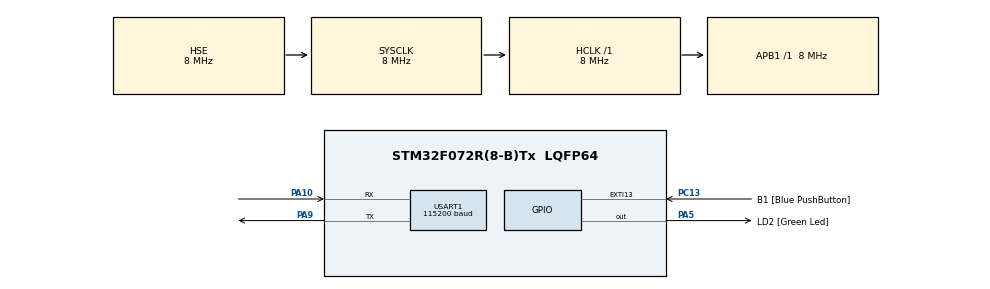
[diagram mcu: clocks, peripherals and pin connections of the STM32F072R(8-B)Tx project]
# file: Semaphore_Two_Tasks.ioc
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Mcu.Family=STM32F0
Mcu.Name=STM32F072R(8-B)Tx
Mcu.Package=LQFP64
NVIC.TIM6_DAC_IRQn=true\:3\:0\:false\:false\:true\:false\:true\:true
NVIC.TimeBase=TIM6_DAC_IRQn
NVIC.TimeBaseIP=TIM6
PA10.Mode=Asynchronous
PA10.Signal=USART1_RX
PA13.GPIO_Label=TMS
PA13.Mode=Serial_Wire
PA13.Signal=SYS_SWDIO
PA14.GPIO_Label=TCK
PA14.Mode=Serial_Wire
PA14.Signal=SYS_SWCLK
PA5.GPIO_Label=LD2 [Green Led]
PA5.GPIO_Mode=GPIO_MODE_OUTPUT_PP
PA5.GPIO_PuPd=GPIO_NOPULL
PA5.GPIO_Speed=GPIO_SPEED_FREQ_LOW
PA5.Signal=GPIO_Output
PA9.Mode=Asynchronous
PA9.Signal=USART1_TX
PC13.GPIO_Label=B1 [Blue PushButton]
PC13.GPIO_ModeDefaultEXTI=GPIO_MODE_IT_FALLING
PC13.Signal=GPXTI13
PC14-OSC32_IN.Signal=RCC_OSC32_IN
PC15-OSC32_OUT.Signal=RCC_OSC32_OUT
PF0-OSC_IN.Mode=HSE-External-Oscillator
PF0-OSC_IN.Signal=RCC_OSC_IN
PF1-OSC_OUT.Mode=HSE-External-Oscillator
PF1-OSC_OUT.Signal=RCC_OSC_OUT
ProjectManager.HeapSize=0x200
ProjectManager.StackSize=0x400
ProjectManager.TargetToolchain=STM32CubeIDE
RCC.AHBFreq_Value=8000000
RCC.APB1Freq_Value=8000000
RCC.APB1TimFreq_Value=8000000
RCC.FLatency-AdvancedSettings=FLASH_LATENCY_0
RCC.HCLKFreq_Value=8000000
RCC.PLLDivider=RCC_PREDIV_DIV2
RCC.PLLMUL=RCC_PLL_MUL12
RCC.PREFETCH_ENABLE-AdvancedSettings=1
RCC.SYSCLKFreq_VALUE=8000000
RCC.SYSCLKSource=RCC_SYSCLKSOURCE_HSE
USART1.BaudRate=115200
USART1.VirtualMode-Asynchronous=VM_ASYNC
VP_SYS_VS_tim6.Mode=TIM6
board=NUCLEO-F072RB

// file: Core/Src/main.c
/* USER CODE BEGIN Header */
/**
  ******************************************************************************
  * @file           : main.c
  * @brief          : Main program body
  ******************************************************************************
  * @attention
  *
  * Copyright (c) 2024 STMicroelectronics.
  * All rights reserved.
  *
  * This software is licensed under terms that can be found in the LICENSE file
  * in the root directory of this software component.
  * If no LICENSE file comes with this software, it is provided AS-IS.
  *
  ******************************************************************************
  */
/* USER CODE END Header */
#include "main.h"

/* USER CODE BEGIN Includes */
#include "FreeRTOS.h"
#include "task.h"
#include "queue.h"
#include "semphr.h"
#include "stdio.h"
#include "string.h"
#include "stdlib.h"
/* USER CODE END Includes */

/* USER CODE BEGIN PTD */

uint8_t myMessage[100];

xSemaphoreHandle xSemaphore = 		NULL;
xQueueHandle xQueue 		=		NULL ;
char *deneme = "Semaphore,Queue and Task Created...\r\n";

/* USER CODE END PTD */

UART_HandleTypeDef huart1;

void SystemClock_Config(void);
static void MX_GPIO_Init(void);
static void MX_USART1_UART_Init(void);

/* USER CODE BEGIN 0 */

void Master_Task_Handler(void *params)
{
	// random sayılar elde edeceğiz

	unsigned int  xMasterPassId; // geçiş id si

	portBASE_TYPE xStatus; // kuyruğun durumunu sorgulamak için

	/*
	 	 sen ilk başya semafor oluşturdğunda bunun değeri 0 olarak başlar
	 	 önce bi 1 değeri ver ki o değer alınabilsin

	 */

//	xSemaphoreGive(xSemaphore); // ilk semafor anahtarını belirledik,yani anahtar aktif
	// sistemi başalatırken semafor anahtarını her zaman 1 yaparız
	//ile ilk çocuğa salıncak anahtarını verirsiniz

	/*

	 Başlangıçta semafor değeri 1 olacak şekilde ayarlanır.
	 Bu, Slave_Task_Handler görevinin semaforu alabilmesi için hazır hale getirilir.

	 Slave_Task_Handler kardeşime anahtarı kullanılabilir hale getirdim

	 yani bu fonks çağrıldğında semaforun değeri 1 olarak ayarlanır

	 eğer bu 1 olarak ayarlanmazsa Slave_Task_Handler görevindeki ;

	 xSemaphoreTake(xSemaphore, portMAX_DELAY); gibi bir fonksiyon çağrıldığında,
	  bu işlem semaforun değeri 1 olana kadar bekleyecektir

	 */

	while(1)
	{

		xMasterPassId = (rand() & 0x1FF); // xMasterPassId nesnesine bu oluşturduğum random değer gelir
		// bu random değerini kuyruğa yazarız

		xStatus = xQueueSend(xQueue,&xMasterPassId,portMAX_DELAY);

		/*
		 	 xQueue -> Mesajı göndermek istediğiniz kuyruğun tanıtıcısı
		 	 xMasterPassId -> Kuyruğa göndermek istediğiniz veri
		 	 portMAX_DELAY -> Kuyruk doluysa, görev kuyruğa mesaj göndermek için ne kadar süre bekleyecek,kuyruk dolana kadar beklemeyi seçiyoruz

		 */

		if(xStatus != pdPASS) // kuyruğa veri yazılmamıştır demek -> pdPASS, işlem başarılı demektir
		{
			sprintf((char*)myMessage,"Could not sent to the Queue!\r\n");
			HAL_UART_Transmit(&huart1, myMessage, strlen((char*)myMessage), 1000);
		}
		else
		{
		//	xSemaphoreGive(xSemaphore); // Semafor serbest bırakılır, BU GEREKSİZ TAMAMEN
		//diğer görevlerin (eğer varsa) o semaforu alabilmesi için sıra bekleyen görevlere izin verilir.
			// anahtarı almak için sırasını bekler
			//taskYIELD();
		}

	}

}

void Slave_Task_Handler(void *params)
{
	unsigned int xSlavePassId;

	portBASE_TYPE xStatus;

	while(1)
	{

		xSemaphoreTake(xSemaphore,0);
		/*

		 xSemaphoreTake -> belirtilen semaforu almak ve kullanmak için kullanılır.
		 xSemaphore, // Alınacak semaforun tanıtıcısı
		 0-> Semaforun alınması için maksimum bekleme süresidir.
		 	 anahtar yoksa  hemen almak istiyorsanız 0 verebilirsiniz

			İlk çocuk salıncaktan çıktığında,
			diğer çocuk xSemaphoreTake() ile anahtarı alır ve salıncakta oynamaya başlar.
		 */

		xStatus = xQueueReceive(xQueue, &xSlavePassId, 0);

		if(xStatus != pdPASS)
		{
			sprintf((char*)myMessage,"Slave Task: Queue is empty,nothing to do!\r\n");
			HAL_UART_Transmit(&huart1, myMessage, strlen((char*)myMessage), 1000);
		}
		else
		{
			SlaveDoWork(xSlavePassId);
		}
	}

}

void SlaveDoWork(unsigned int passId)
{
	sprintf((char*)myMessage,"Slave task working on Passed Id: %d \r\n",passId);
	HAL_UART_Transmit(&huart1, myMessage, strlen((char*)myMessage), 1000);
}

/* USER CODE END 0 */

int main(void)
{

  /* MCU Configuration--------------------------------------------------------*/

  /* Reset of all peripherals, Initializes the Flash interface and the Systick. */
  HAL_Init();

  /* Configure the system clock */
  SystemClock_Config();

  /* Initialize all configured peripherals */
  MX_GPIO_Init();
  MX_USART1_UART_Init();
  /* USER CODE BEGIN 2 */

	sprintf((char*)myMessage,"Demo of binary semaphore usage between two tasks.\r\n");

	HAL_UART_Transmit(&huart1, (uint8_t *)myMessage, strlen((char*)myMessage), 1000);

    xQueue = xQueueCreate(1,sizeof(unsigned int)) ; // kuyruk oluşturduk her seferinde 1 tane veri koyacağız
  	  	  	  	  	  	  	  	  	  	  	  	  // ve görev bu veriyi alıp tekrar 1 tane daha veri koyulacak

    vSemaphoreCreateBinary(xSemaphore); // semafor oluşturduk

 if( (xQueue!=NULL) && (xSemaphore!=NULL) )
  {
	  sprintf((char*)myMessage,"Semaphore,Queue and Task Created...\r\n");
	  HAL_UART_Transmit(&huart1, myMessage, strlen((char*)myMessage), 1000);
	  // semafor ve kuyruk sağlıklı bir şekilde oluştu mu diye kontrol ediyoruz

	  xTaskCreate(Master_Task_Handler, "Master_Task", 200, NULL, 3, NULL);
	  xTaskCreate(Slave_Task_Handler, "Slave_Task", 200, NULL, 2, NULL);

	  vTaskStartScheduler();
  }

  else
  {
	  sprintf((char*)myMessage,"Tasks are not created!\r\n");
	  HAL_UART_Transmit(&huart1, myMessage, sizeof((char*)myMessage), 1000);
  }

  /* USER CODE END 2 */

  /* Infinite loop */
  while (1)
  {

  }
}

void SystemClock_Config(void)
{
  RCC_OscInitTypeDef RCC_OscInitStruct = {0};
  RCC_ClkInitTypeDef RCC_ClkInitStruct = {0};
  RCC_PeriphCLKInitTypeDef PeriphClkInit = {0};

  /** Initializes the RCC Oscillators according to the specified parameters
  * in the RCC_OscInitTypeDef structure.
  */
  RCC_OscInitStruct.OscillatorType = RCC_OSCILLATORTYPE_HSE;
  RCC_OscInitStruct.HSEState = RCC_HSE_ON;
  RCC_OscInitStruct.PLL.PLLState = RCC_PLL_NONE;
  if (HAL_RCC_OscConfig(&RCC_OscInitStruct) != HAL_OK)
  {
    Error_Handler();
  }

  /** Initializes the CPU, AHB and APB buses clocks
  */
  RCC_ClkInitStruct.ClockType = RCC_CLOCKTYPE_HCLK|RCC_CLOCKTYPE_SYSCLK
                              |RCC_CLOCKTYPE_PCLK1;
  RCC_ClkInitStruct.SYSCLKSource = RCC_SYSCLKSOURCE_HSE;
  RCC_ClkInitStruct.AHBCLKDivider = RCC_SYSCLK_DIV1;
  RCC_ClkInitStruct.APB1CLKDivider = RCC_HCLK_DIV1;

  if (HAL_RCC_ClockConfig(&RCC_ClkInitStruct, FLASH_LATENCY_0) != HAL_OK)
  {
    Error_Handler();
  }
  PeriphClkInit.PeriphClockSelection = RCC_PERIPHCLK_USART1;
  PeriphClkInit.Usart1ClockSelection = RCC_USART1CLKSOURCE_PCLK1;
  if (HAL_RCCEx_PeriphCLKConfig(&PeriphClkInit) != HAL_OK)
  {
    Error_Handler();
  }
}

static void MX_USART1_UART_Init(void)
{

  huart1.Instance = USART1;
  huart1.Init.BaudRate = 115200;
  huart1.Init.WordLength = UART_WORDLENGTH_8B;
  huart1.Init.StopBits = UART_STOPBITS_1;
  huart1.Init.Parity = UART_PARITY_NONE;
  huart1.Init.Mode = UART_MODE_TX_RX;
  huart1.Init.HwFlowCtl = UART_HWCONTROL_NONE;
  huart1.Init.OverSampling = UART_OVERSAMPLING_16;
  huart1.Init.OneBitSampling = UART_ONE_BIT_SAMPLE_DISABLE;
  huart1.AdvancedInit.AdvFeatureInit = UART_ADVFEATURE_NO_INIT;
  if (HAL_UART_Init(&huart1) != HAL_OK)
  {
    Error_Handler();
  }

}

static void MX_GPIO_Init(void)
{
  GPIO_InitTypeDef GPIO_InitStruct = {0};

  /* GPIO Ports Clock Enable */
  __HAL_RCC_GPIOC_CLK_ENABLE();
  __HAL_RCC_GPIOF_CLK_ENABLE();
  __HAL_RCC_GPIOA_CLK_ENABLE();

  /*Configure GPIO pin Output Level */
  HAL_GPIO_WritePin(LD2_GPIO_Port, LD2_Pin, GPIO_PIN_RESET);

  /*Configure GPIO pin : B1_Pin */
  GPIO_InitStruct.Pin = B1_Pin;
  GPIO_InitStruct.Mode = GPIO_MODE_IT_FALLING;
  GPIO_InitStruct.Pull = GPIO_NOPULL;
  HAL_GPIO_Init(B1_GPIO_Port, &GPIO_InitStruct);

  /*Configure GPIO pin : LD2_Pin */
  GPIO_InitStruct.Pin = LD2_Pin;
  GPIO_InitStruct.Mode = GPIO_MODE_OUTPUT_PP;
  GPIO_InitStruct.Pull = GPIO_NOPULL;
  GPIO_InitStruct.Speed = GPIO_SPEED_FREQ_LOW;
  HAL_GPIO_Init(LD2_GPIO_Port, &GPIO_InitStruct);

}

void HAL_TIM_PeriodElapsedCallback(TIM_HandleTypeDef *htim)
{
  if (htim->Instance == TIM6) {
    HAL_IncTick();
  }
}

void Error_Handler(void)
{
  __disable_irq();
  while (1)
  {
  }
}
